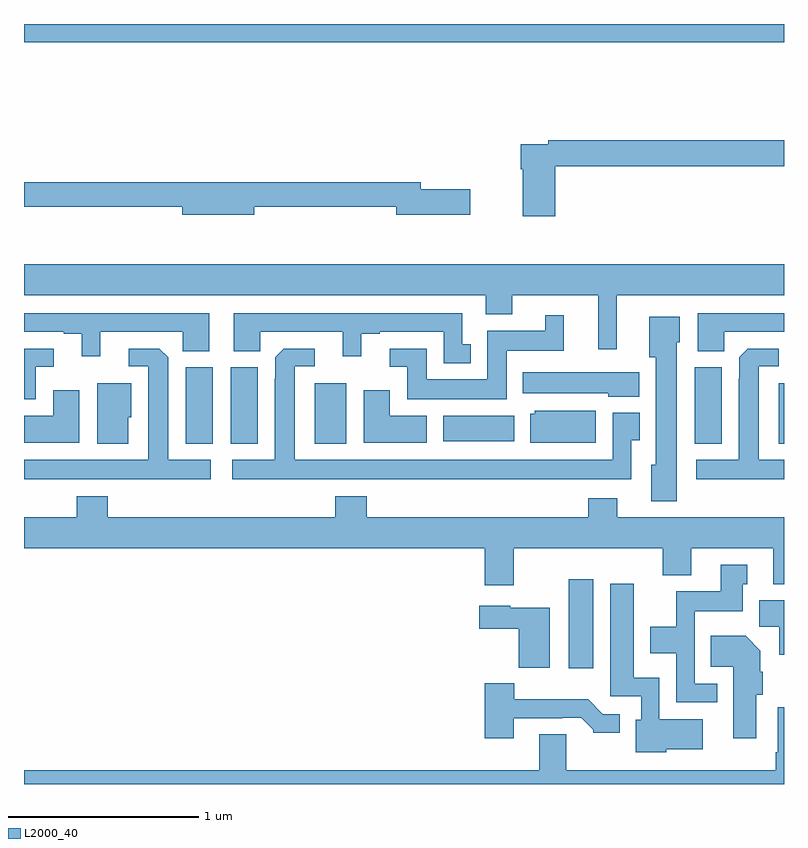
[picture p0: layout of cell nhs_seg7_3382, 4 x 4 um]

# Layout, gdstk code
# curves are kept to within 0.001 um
import gdstk
lib = gdstk.Library(unit=1e-6, precision=1e-09)
def R(c, l, rs):  # rectangles x0, y0, x1, y1
    for r in rs: c.add(gdstk.rectangle(r[:2], r[2:], *l))
def P(c, l, *ps):  # polygons
    for p in ps: c.add(gdstk.Polygon(p, *l))
L2000_40 = (2000, 40)

nhs_seg7_3382 = lib.new_cell('nhs_seg7_3382')
R(nhs_seg7_3382, L2000_40, [(327.866,1042.608,327.997,1043.077), (325.85,1043.792,325.993,1044.193), (326.087,1043.792,326.23,1044.193), (326.531,1043.792,326.695,1044.109), (328.529,1043.792,328.672,1044.193), (328.973,1043.792,329,1044.109), (327.206,1043.804,327.58,1043.938), (325,1045.904,329,1046)])
P(nhs_seg7_3382, L2000_40, [(327.797,1045.252),(329,1045.252),(329,1045.388),(327.76,1045.388),(327.76,1045.368),(327.614,1045.368),(327.614,1045.235),(327.626,1045.235),(327.626,1044.987),(327.797,1044.987)],
  [(326.212,1045.038),(326.96,1045.038),(326.96,1044.995),(327.349,1044.995),(327.349,1045.13),(327.088,1045.13),(327.088,1045.166),(325,1045.166),(325,1045.038),(325.832,1045.038),(325.832,1044.995),(326.212,1044.995)],
  [(328.12,1044.572),(329,1044.572),(329,1044.736),(325,1044.736),(325,1044.572),(327.431,1044.572),(327.431,1044.473),(327.571,1044.473),(327.571,1044.572),(328.022,1044.572),(328.022,1044.288),(328.12,1044.288)],
  [(327.352,1044.315),(327.306,1044.315),(327.306,1044.477),(326.105,1044.477),(326.105,1044.278),(326.244,1044.278),(326.244,1044.381),(326.678,1044.381),(326.678,1044.252),(326.776,1044.252),(326.776,1044.369),(326.872,1044.369),(326.872,1044.381),(327.21,1044.381),(327.21,1044.215),(327.352,1044.215)],
  [(328.686,1044.381),(329,1044.381),(329,1044.477),(328.547,1044.477),(328.547,1044.278),(328.686,1044.278)],
  [(325.402,1044.381),(325.836,1044.381),(325.836,1044.278),(325.975,1044.278),(325.975,1044.477),(325,1044.477),(325,1044.381),(325.208,1044.381),(325.208,1044.369),(325.304,1044.369),(325.304,1044.252),(325.402,1044.252)],
  [(327.541,1044.281),(327.842,1044.281),(327.842,1044.466),(327.743,1044.466),(327.743,1044.385),(327.437,1044.385),(327.437,1044.13),(327.121,1044.13),(327.121,1044.291),(326.925,1044.291),(326.925,1044.195),(327.017,1044.195),(327.017,1044.026),(327.541,1044.026)],
  [(328.435,1044.324),(328.45,1044.324),(328.45,1044.46),(328.292,1044.46),(328.292,1044.246),(328.325,1044.246),(328.325,1043.679),(328.301,1043.679),(328.301,1043.489),(328.435,1043.489)],
  [(325.063,1044.195),(325.156,1044.195),(325.156,1044.291),(325,1044.291),(325,1044.026),(325.063,1044.026)],
  [(328.195,1043.809),(328.24,1043.809),(328.24,1043.953),(328.098,1043.953),(328.098,1043.707),(326.425,1043.707),(326.425,1044.198),(326.53,1044.198),(326.53,1044.291),(326.368,1044.291),(326.322,1044.245),(326.321,1043.707),(326.097,1043.707),(326.097,1043.603),(328.195,1043.603)],
  [(329,1043.707),(328.867,1043.707),(328.867,1044.198),(328.972,1044.198),(328.972,1044.291),(328.81,1044.291),(328.764,1044.245),(328.763,1043.707),(328.539,1043.707),(328.539,1043.603),(329,1043.603)],
  [(325.984,1043.707),(325.759,1043.707),(325.758,1044.245),(325.712,1044.291),(325.551,1044.291),(325.551,1044.198),(325.655,1044.198),(325.655,1043.707),(325,1043.707),(325,1043.603),(325.984,1043.603)],
  [(328.237,1044.166),(327.626,1044.166),(327.626,1044.056),(328.074,1044.056),(328.074,1044.038),(328.237,1044.038)],
  [(325.549,1043.931),(325.564,1043.931),(325.564,1044.109),(325.385,1044.109),(325.385,1043.792),(325.549,1043.792)],
  [(327.121,1043.938),(326.926,1043.938),(326.926,1044.073),(326.789,1044.073),(326.789,1043.795),(327.121,1043.795)],
  [(325.291,1044.073),(325.154,1044.073),(325.154,1043.938),(325,1043.938),(325,1043.795),(325.291,1043.795)],
  [(328.009,1043.965),(327.687,1043.965),(327.687,1043.949),(327.665,1043.949),(327.665,1043.795),(328.009,1043.795)],
  [(327.577,1043.24),(328.361,1043.24),(328.361,1043.099),(328.513,1043.099),(328.513,1043.24),(328.943,1043.24),(328.943,1043.051),(329,1043.051),(329,1043.404),(328.123,1043.404),(328.123,1043.503),(327.971,1043.503),(327.971,1043.404),(326.804,1043.404),(326.804,1043.515),(326.639,1043.515),(326.639,1043.404),(325.442,1043.404),(325.442,1043.515),(325.277,1043.515),(325.277,1043.404),(325,1043.404),(325,1043.24),(327.425,1043.24),(327.425,1043.046),(327.577,1043.046)],
  [(328.648,1042.527),(328.53,1042.527),(328.53,1042.91),(328.783,1042.91),(328.783,1043.052),(328.807,1043.052),(328.807,1043.155),(328.667,1043.155),(328.667,1043.014),(328.432,1043.014),(328.432,1042.828),(328.295,1042.828),(328.295,1042.688),(328.434,1042.688),(328.434,1042.431),(328.648,1042.431)],
  [(328.38,1042.184),(328.573,1042.184),(328.573,1042.342),(328.344,1042.342),(328.344,1042.558),(328.21,1042.558),(328.21,1043.053),(328.085,1043.053),(328.085,1042.461),(328.248,1042.461),(328.248,1042.338),(328.22,1042.338),(328.22,1042.166),(328.38,1042.166)],
  [(329,1042.966),(328.871,1042.966),(328.871,1042.828),(328.976,1042.828),(328.976,1042.68),(329,1042.68)],
  [(327.766,1042.927),(327.558,1042.927),(327.558,1042.939),(327.396,1042.939),(327.396,1042.817),(327.604,1042.817),(327.604,1042.613),(327.766,1042.613)],
  [(328.855,1042.47),(328.889,1042.47),(328.889,1042.592),(328.876,1042.592),(328.876,1042.702),(328.798,1042.78),(328.615,1042.78),(328.615,1042.616),(328.733,1042.616),(328.733,1042.242),(328.855,1042.242)],
  [(327.577,1042.347),(327.833,1042.347),(327.833,1042.35),(327.932,1042.35),(327.996,1042.286),(327.996,1042.271),(328.135,1042.271),(328.135,1042.368),(328.047,1042.368),(327.969,1042.447),(327.58,1042.447),(327.58,1042.531),(327.425,1042.531),(327.425,1042.242),(327.577,1042.242)],
  [(329,1042.405),(328.968,1042.405),(328.968,1042.168),(328.956,1042.168),(328.956,1042.072),(327.853,1042.072),(327.853,1042.262),(327.713,1042.262),(327.713,1042.072),(325,1042.072),(325,1042),(329,1042)])

lib.write_gds('nhs_seg7_3382.gds')
